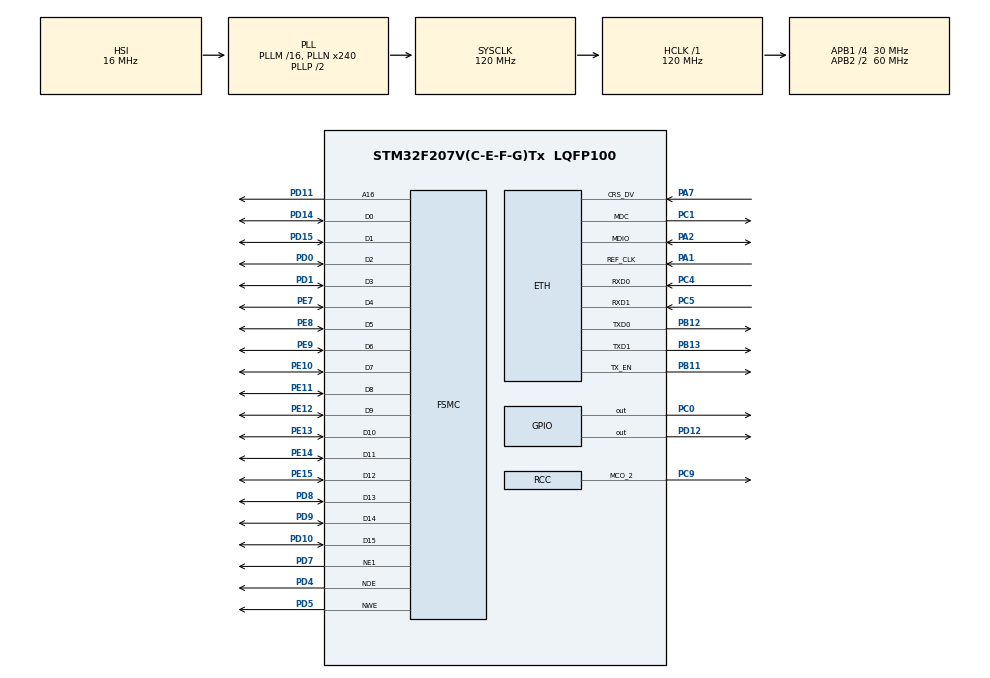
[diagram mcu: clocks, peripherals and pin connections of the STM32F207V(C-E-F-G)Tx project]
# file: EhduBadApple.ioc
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ETH.ChecksumMode=ETH_CHECKSUM_BY_SOFTWARE
ETH.MediaInterface=ETH_MEDIA_INTERFACE_RMII
ETH.PHY_Name_RMII=DP83848_PHY_ADDRESS
FSMC.AddressSetupTime1=6
FSMC.BusTurnAroundDuration1=1
FSMC.DataSetupTime1=9
LWIP.CHECKSUM_CHECK_ICMP=1
LWIP.CHECKSUM_CHECK_ICMP6=1
LWIP.CHECKSUM_CHECK_IP=1
LWIP.CHECKSUM_CHECK_TCP=1
LWIP.CHECKSUM_CHECK_UDP=1
LWIP.CHECKSUM_GEN_ICMP=1
LWIP.CHECKSUM_GEN_ICMP6=1
LWIP.CHECKSUM_GEN_IP=1
LWIP.CHECKSUM_GEN_TCP=1
LWIP.CHECKSUM_GEN_UDP=1
LWIP.GATEWAY_ADDRESS=169.254.082.059
LWIP.IP_ADDRESS=169.254.082.233
LWIP.LWIP_DHCP=0
LWIP.LWIP_ICMP=0
LWIP.LWIP_TCP=0
LWIP.MEMP_NUM_TCP_PCB=0
LWIP.NETMASK_ADDRESS=255.255.255.000
LWIP.Version=v2.0.3_Cube
Mcu.Family=STM32F2
Mcu.Name=STM32F207V(C-E-F-G)Tx
Mcu.Package=LQFP100
NVIC.PriorityGroup=NVIC_PRIORITYGROUP_4
NVIC.TIM2_IRQn=true\:0\:0\:false\:false\:true\:true\:true\:true
PA1.Mode=RMII
PA1.Signal=ETH_REF_CLK
PA13.Mode=Serial_Wire
PA13.Signal=SYS_JTMS-SWDIO
PA14.Mode=Serial_Wire
PA14.Signal=SYS_JTCK-SWCLK
PA2.Mode=RMII
PA2.Signal=ETH_MDIO
PA7.Mode=RMII
PA7.Signal=ETH_CRS_DV
PB11.Mode=RMII
PB11.Signal=ETH_TX_EN
PB12.Mode=RMII
PB12.Signal=ETH_TXD0
PB13.Mode=RMII
PB13.Signal=ETH_TXD1
PC0.Signal=GPIO_Output
PC1.Mode=RMII
PC1.Signal=ETH_MDC
PC4.Mode=RMII
PC4.Signal=ETH_RXD0
PC5.Mode=RMII
PC5.Signal=ETH_RXD1
PC9.Mode=Clock-out-2
PC9.Signal=RCC_MCO_2
PD0.Mode=16b-d1
PD0.Signal=FSMC_D2
PD1.Mode=16b-d1
PD1.Signal=FSMC_D3
PD10.Mode=16b-d1
PD10.Signal=FSMC_D15
PD11.Mode=A16_1
PD11.Signal=FSMC_A16
PD12.Signal=GPIO_Output
PD14.Mode=16b-d1
PD14.Signal=FSMC_D0
PD15.Mode=16b-d1
PD15.Signal=FSMC_D1
PD4.Mode=Lcd1
PD4.Signal=FSMC_NOE
PD5.Mode=Lcd1
PD5.Signal=FSMC_NWE
PD7.Mode=NorPsramChipSelect1_1
PD7.Signal=FSMC_NE1
PD8.Mode=16b-d1
PD8.Signal=FSMC_D13
PD9.Mode=16b-d1
PD9.Signal=FSMC_D14
PE10.Mode=16b-d1
PE10.Signal=FSMC_D7
PE11.Mode=16b-d1
PE11.Signal=FSMC_D8
PE12.Mode=16b-d1
PE12.Signal=FSMC_D9
PE13.Mode=16b-d1
PE13.Signal=FSMC_D10
PE14.Mode=16b-d1
PE14.Signal=FSMC_D11
PE15.Mode=16b-d1
PE15.Signal=FSMC_D12
PE7.Mode=16b-d1
PE7.Signal=FSMC_D4
PE8.Mode=16b-d1
PE8.Signal=FSMC_D5
PE9.Mode=16b-d1
PE9.Signal=FSMC_D6
PH0-OSC_IN.Mode=HSE-External-Oscillator
PH0-OSC_IN.Signal=RCC_OSC_IN
PH1-OSC_OUT.Mode=HSE-External-Oscillator
PH1-OSC_OUT.Signal=RCC_OSC_OUT
ProjectManager.HeapSize=0x200
ProjectManager.StackSize=0x400
ProjectManager.TargetToolchain=STM32CubeIDE
RCC.48MHZClocksFreq_Value=48000000
RCC.AHBFreq_Value=120000000
RCC.APB1CLKDivider=RCC_HCLK_DIV4
RCC.APB1Freq_Value=30000000
RCC.APB1TimFreq_Value=60000000
RCC.APB2CLKDivider=RCC_HCLK_DIV2
RCC.APB2Freq_Value=60000000
RCC.APB2TimFreq_Value=120000000
RCC.CortexFreq_Value=120000000
RCC.HCLKFreq_Value=120000000
RCC.HSE_VALUE=25000000
RCC.HSI_VALUE=16000000
RCC.LSE_VALUE=32768
RCC.PLLI2SN=200
RCC.PLLN=240
RCC.PLLQ=5
RCC.RCC_MCO2Source=RCC_MCO2SOURCE_PLLI2SCLK
RCC.RCC_MCODiv2=RCC_MCODIV_2
RCC.RCC_RTC_Clock_Source=RCC_RTCCLKSOURCE_LSE
RCC.RCC_RTC_Clock_SourceVirtual=RCC_RTCCLKSOURCE_LSE
RCC.SYSCLKFreq_VALUE=120000000
RCC.SYSCLKSource=RCC_SYSCLKSOURCE_PLLCLK
RCC.VCOOutputFreq_Value=240000000
TIM2.AutoReloadPreload=TIM_AUTORELOAD_PRELOAD_DISABLE
TIM2.Period=639
TIM2.Prescaler=59
TIM2.TIM_MasterOutputTrigger=TIM_TRGO_UPDATE
VP_LWIP_VS_Enabled.Mode=Enabled
VP_TIM2_VS_ClockSourceINT.Mode=Internal
board=custom

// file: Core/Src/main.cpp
/* USER CODE BEGIN Header */
/**
  ******************************************************************************
  * @file           : main.c
  * @brief          : Main program body
  ******************************************************************************
  * @attention
  *
  * Copyright (c) 2022 STMicroelectronics.
  * All rights reserved.
  *
  * This software is licensed under terms that can be found in the LICENSE file
  * in the root directory of this software component.
  * If no LICENSE file comes with this software, it is provided AS-IS.
  *
  ******************************************************************************
  */
/* USER CODE END Header */
#include "main.h"
#include "lwip.h"

/* USER CODE BEGIN Includes */
#include "Displayer.h"

using namespace ehdu;
/* USER CODE END Includes */

 TIM_HandleTypeDef htim2;

SRAM_HandleTypeDef hsram1;

void SystemClock_Config(void);
static void MX_GPIO_Init(void);
static void MX_FSMC_Init(void);
static void MX_TIM2_Init(void);
/* USER CODE BEGIN PFP */
void udpRecv(void *arg, struct udp_pcb *pcb, struct pbuf *p,
             const ip_addr_t *addr, u16_t port);
/* USER CODE END PFP */

/* USER CODE BEGIN 0 */
void HAL_TIM_PeriodElapsedCallback(TIM_HandleTypeDef *htim){
	static struct udp_pcb *pcb = nullptr;
	if(pcb != nullptr){
		udp_remove(pcb);
	}
	pcb = udp_new();
	struct pbuf *data = pbuf_alloc(PBUF_TRANSPORT, 32, PBUF_POOL);
	ip_addr_t addr = IPADDR4_INIT_BYTES(169, 254, 82, 59);
	udp_sendto(pcb, data, &addr, 2233);
	pbuf_free(data);
}
/* USER CODE END 0 */

int main(void)
{

  /* MCU Configuration--------------------------------------------------------*/

  /* Reset of all peripherals, Initializes the Flash interface and the Systick. */
  HAL_Init();

  /* Configure the system clock */
  SystemClock_Config();

  /* Initialize all configured peripherals */
  MX_GPIO_Init();
  MX_FSMC_Init();
  MX_TIM2_Init();
  MX_LWIP_Init();
  /* USER CODE BEGIN 2 */
  HAL_GPIO_WritePin(GPIOC, GPIO_PIN_0, GPIO_PIN_SET);
  HAL_GPIO_WritePin(GPIOD, GPIO_PIN_12, GPIO_PIN_SET);
  Displayer::getInstance();

  struct udp_pcb *pcb = udp_new();
  udp_recv(pcb, udpRecv, nullptr);
  ip_addr_t addr = IPADDR4_INIT_BYTES(0, 0, 0, 0);
  udp_bind(pcb, &addr, 6666);

  HAL_TIM_Base_Start_IT(&htim2);
  /* USER CODE END 2 */

  /* Infinite loop */
  /* USER CODE BEGIN WHILE */
  while (1)
  {
	  MX_LWIP_Process();
    /* USER CODE END WHILE */

  }
}

void SystemClock_Config(void)
{
  RCC_OscInitTypeDef RCC_OscInitStruct = {0};
  RCC_ClkInitTypeDef RCC_ClkInitStruct = {0};
  RCC_PeriphCLKInitTypeDef PeriphClkInitStruct = {0};

  /** Initializes the RCC Oscillators according to the specified parameters
  * in the RCC_OscInitTypeDef structure.
  */
  RCC_OscInitStruct.OscillatorType = RCC_OSCILLATORTYPE_HSI;
  RCC_OscInitStruct.HSIState = RCC_HSI_ON;
  RCC_OscInitStruct.HSICalibrationValue = RCC_HSICALIBRATION_DEFAULT;
  RCC_OscInitStruct.PLL.PLLState = RCC_PLL_ON;
  RCC_OscInitStruct.PLL.PLLSource = RCC_PLLSOURCE_HSI;
  RCC_OscInitStruct.PLL.PLLM = 16;
  RCC_OscInitStruct.PLL.PLLN = 240;
  RCC_OscInitStruct.PLL.PLLP = RCC_PLLP_DIV2;
  RCC_OscInitStruct.PLL.PLLQ = 5;
  if (HAL_RCC_OscConfig(&RCC_OscInitStruct) != HAL_OK)
  {
    Error_Handler();
  }

  /** Initializes the CPU, AHB and APB buses clocks
  */
  RCC_ClkInitStruct.ClockType = RCC_CLOCKTYPE_HCLK|RCC_CLOCKTYPE_SYSCLK
                              |RCC_CLOCKTYPE_PCLK1|RCC_CLOCKTYPE_PCLK2;
  RCC_ClkInitStruct.SYSCLKSource = RCC_SYSCLKSOURCE_PLLCLK;
  RCC_ClkInitStruct.AHBCLKDivider = RCC_SYSCLK_DIV1;
  RCC_ClkInitStruct.APB1CLKDivider = RCC_HCLK_DIV4;
  RCC_ClkInitStruct.APB2CLKDivider = RCC_HCLK_DIV2;

  if (HAL_RCC_ClockConfig(&RCC_ClkInitStruct, FLASH_LATENCY_3) != HAL_OK)
  {
    Error_Handler();
  }
  PeriphClkInitStruct.PeriphClockSelection = RCC_PERIPHCLK_I2S;
  PeriphClkInitStruct.PLLI2S.PLLI2SN = 200;
  PeriphClkInitStruct.PLLI2S.PLLI2SR = 2;
  if (HAL_RCCEx_PeriphCLKConfig(&PeriphClkInitStruct) != HAL_OK)
  {
    Error_Handler();
  }
  HAL_RCC_MCOConfig(RCC_MCO2, RCC_MCO2SOURCE_PLLI2SCLK, RCC_MCODIV_2);
}

static void MX_TIM2_Init(void)
{

  TIM_ClockConfigTypeDef sClockSourceConfig = {0};
  TIM_MasterConfigTypeDef sMasterConfig = {0};

  htim2.Instance = TIM2;
  htim2.Init.Prescaler = 59;
  htim2.Init.CounterMode = TIM_COUNTERMODE_UP;
  htim2.Init.Period = 639;
  htim2.Init.ClockDivision = TIM_CLOCKDIVISION_DIV1;
  htim2.Init.AutoReloadPreload = TIM_AUTORELOAD_PRELOAD_DISABLE;
  if (HAL_TIM_Base_Init(&htim2) != HAL_OK)
  {
    Error_Handler();
  }
  sClockSourceConfig.ClockSource = TIM_CLOCKSOURCE_INTERNAL;
  if (HAL_TIM_ConfigClockSource(&htim2, &sClockSourceConfig) != HAL_OK)
  {
    Error_Handler();
  }
  sMasterConfig.MasterOutputTrigger = TIM_TRGO_UPDATE;
  sMasterConfig.MasterSlaveMode = TIM_MASTERSLAVEMODE_DISABLE;
  if (HAL_TIMEx_MasterConfigSynchronization(&htim2, &sMasterConfig) != HAL_OK)
  {
    Error_Handler();
  }

}

static void MX_GPIO_Init(void)
{
  GPIO_InitTypeDef GPIO_InitStruct = {0};

  /* GPIO Ports Clock Enable */
  __HAL_RCC_GPIOE_CLK_ENABLE();
  __HAL_RCC_GPIOC_CLK_ENABLE();
  __HAL_RCC_GPIOH_CLK_ENABLE();
  __HAL_RCC_GPIOA_CLK_ENABLE();
  __HAL_RCC_GPIOB_CLK_ENABLE();
  __HAL_RCC_GPIOD_CLK_ENABLE();

  /*Configure GPIO pin Output Level */
  HAL_GPIO_WritePin(GPIOC, GPIO_PIN_0, GPIO_PIN_RESET);

  /*Configure GPIO pin Output Level */
  HAL_GPIO_WritePin(GPIOD, GPIO_PIN_12, GPIO_PIN_RESET);

  /*Configure GPIO pins : PE2 PE3 PE4 PE5
                           PE6 PE0 PE1 */
  GPIO_InitStruct.Pin = GPIO_PIN_2|GPIO_PIN_3|GPIO_PIN_4|GPIO_PIN_5
                          |GPIO_PIN_6|GPIO_PIN_0|GPIO_PIN_1;
  GPIO_InitStruct.Mode = GPIO_MODE_ANALOG;
  GPIO_InitStruct.Pull = GPIO_NOPULL;
  HAL_GPIO_Init(GPIOE, &GPIO_InitStruct);

  /*Configure GPIO pins : PC13 PC14 PC15 PC2
                           PC3 PC6 PC7 PC8
                           PC10 PC11 PC12 */
  GPIO_InitStruct.Pin = GPIO_PIN_13|GPIO_PIN_14|GPIO_PIN_15|GPIO_PIN_2
                          |GPIO_PIN_3|GPIO_PIN_6|GPIO_PIN_7|GPIO_PIN_8
                          |GPIO_PIN_10|GPIO_PIN_11|GPIO_PIN_12;
  GPIO_InitStruct.Mode = GPIO_MODE_ANALOG;
  GPIO_InitStruct.Pull = GPIO_NOPULL;
  HAL_GPIO_Init(GPIOC, &GPIO_InitStruct);

  /*Configure GPIO pin : PC0 */
  GPIO_InitStruct.Pin = GPIO_PIN_0;
  GPIO_InitStruct.Mode = GPIO_MODE_OUTPUT_PP;
  GPIO_InitStruct.Pull = GPIO_NOPULL;
  GPIO_InitStruct.Speed = GPIO_SPEED_FREQ_LOW;
  HAL_GPIO_Init(GPIOC, &GPIO_InitStruct);

  /*Configure GPIO pins : PA0 PA3 PA4 PA5
                           PA6 PA8 PA9 PA10
                           PA11 PA12 PA15 */
  GPIO_InitStruct.Pin = GPIO_PIN_0|GPIO_PIN_3|GPIO_PIN_4|GPIO_PIN_5
                          |GPIO_PIN_6|GPIO_PIN_8|GPIO_PIN_9|GPIO_PIN_10
                          |GPIO_PIN_11|GPIO_PIN_12|GPIO_PIN_15;
  GPIO_InitStruct.Mode = GPIO_MODE_ANALOG;
  GPIO_InitStruct.Pull = GPIO_NOPULL;
  HAL_GPIO_Init(GPIOA, &GPIO_InitStruct);

  /*Configure GPIO pins : PB0 PB1 PB2 PB10
                           PB14 PB15 PB3 PB4
                           PB5 PB6 PB7 PB8
                           PB9 */
  GPIO_InitStruct.Pin = GPIO_PIN_0|GPIO_PIN_1|GPIO_PIN_2|GPIO_PIN_10
                          |GPIO_PIN_14|GPIO_PIN_15|GPIO_PIN_3|GPIO_PIN_4
                          |GPIO_PIN_5|GPIO_PIN_6|GPIO_PIN_7|GPIO_PIN_8
                          |GPIO_PIN_9;
  GPIO_InitStruct.Mode = GPIO_MODE_ANALOG;
  GPIO_InitStruct.Pull = GPIO_NOPULL;
  HAL_GPIO_Init(GPIOB, &GPIO_InitStruct);

  /*Configure GPIO pin : PD12 */
  GPIO_InitStruct.Pin = GPIO_PIN_12;
  GPIO_InitStruct.Mode = GPIO_MODE_OUTPUT_PP;
  GPIO_InitStruct.Pull = GPIO_NOPULL;
  GPIO_InitStruct.Speed = GPIO_SPEED_FREQ_LOW;
  HAL_GPIO_Init(GPIOD, &GPIO_InitStruct);

  /*Configure GPIO pins : PD13 PD2 PD3 PD6 */
  GPIO_InitStruct.Pin = GPIO_PIN_13|GPIO_PIN_2|GPIO_PIN_3|GPIO_PIN_6;
  GPIO_InitStruct.Mode = GPIO_MODE_ANALOG;
  GPIO_InitStruct.Pull = GPIO_NOPULL;
  HAL_GPIO_Init(GPIOD, &GPIO_InitStruct);

  /*Configure GPIO pin : PC9 */
  GPIO_InitStruct.Pin = GPIO_PIN_9;
  GPIO_InitStruct.Mode = GPIO_MODE_AF_PP;
  GPIO_InitStruct.Pull = GPIO_NOPULL;
  GPIO_InitStruct.Speed = GPIO_SPEED_FREQ_LOW;
  GPIO_InitStruct.Alternate = GPIO_AF0_MCO;
  HAL_GPIO_Init(GPIOC, &GPIO_InitStruct);

}

/* FSMC initialization function */
static void MX_FSMC_Init(void)
{

  FSMC_NORSRAM_TimingTypeDef Timing = {0};

  /** Perform the SRAM1 memory initialization sequence
  */
  hsram1.Instance = FSMC_NORSRAM_DEVICE;
  hsram1.Extended = FSMC_NORSRAM_EXTENDED_DEVICE;
  /* hsram1.Init */
  hsram1.Init.NSBank = FSMC_NORSRAM_BANK1;
  hsram1.Init.DataAddressMux = FSMC_DATA_ADDRESS_MUX_DISABLE;
  hsram1.Init.MemoryType = FSMC_MEMORY_TYPE_SRAM;
  hsram1.Init.MemoryDataWidth = FSMC_NORSRAM_MEM_BUS_WIDTH_16;
  hsram1.Init.BurstAccessMode = FSMC_BURST_ACCESS_MODE_DISABLE;
  hsram1.Init.WaitSignalPolarity = FSMC_WAIT_SIGNAL_POLARITY_LOW;
  hsram1.Init.WrapMode = FSMC_WRAP_MODE_DISABLE;
  hsram1.Init.WaitSignalActive = FSMC_WAIT_TIMING_BEFORE_WS;
  hsram1.Init.WriteOperation = FSMC_WRITE_OPERATION_ENABLE;
  hsram1.Init.WaitSignal = FSMC_WAIT_SIGNAL_DISABLE;
  hsram1.Init.ExtendedMode = FSMC_EXTENDED_MODE_DISABLE;
  hsram1.Init.AsynchronousWait = FSMC_ASYNCHRONOUS_WAIT_DISABLE;
  hsram1.Init.WriteBurst = FSMC_WRITE_BURST_DISABLE;
  /* Timing */
  Timing.AddressSetupTime = 6;
  Timing.AddressHoldTime = 15;
  Timing.DataSetupTime = 9;
  Timing.BusTurnAroundDuration = 1;
  Timing.CLKDivision = 16;
  Timing.DataLatency = 17;
  Timing.AccessMode = FSMC_ACCESS_MODE_A;
  /* ExtTiming */

  if (HAL_SRAM_Init(&hsram1, &Timing, NULL) != HAL_OK)
  {
    Error_Handler( );
  }

}

/* USER CODE BEGIN 4 */
void udpRecv(void *arg, struct udp_pcb *pcb, struct pbuf *p,
             const ip_addr_t *addr, u16_t port){
	uint8_t *payload = reinterpret_cast<uint8_t *>(p->payload);
	uint16_t line = (payload[0] << 8) | payload[1];
	uint8_t *pixels = payload + 2;
	Displayer::getInstance()->drawLine(line, pixels);
	pbuf_free(p);
}
/* USER CODE END 4 */

void Error_Handler(void)
{
  __disable_irq();
  while (1)
  {
  }
}
